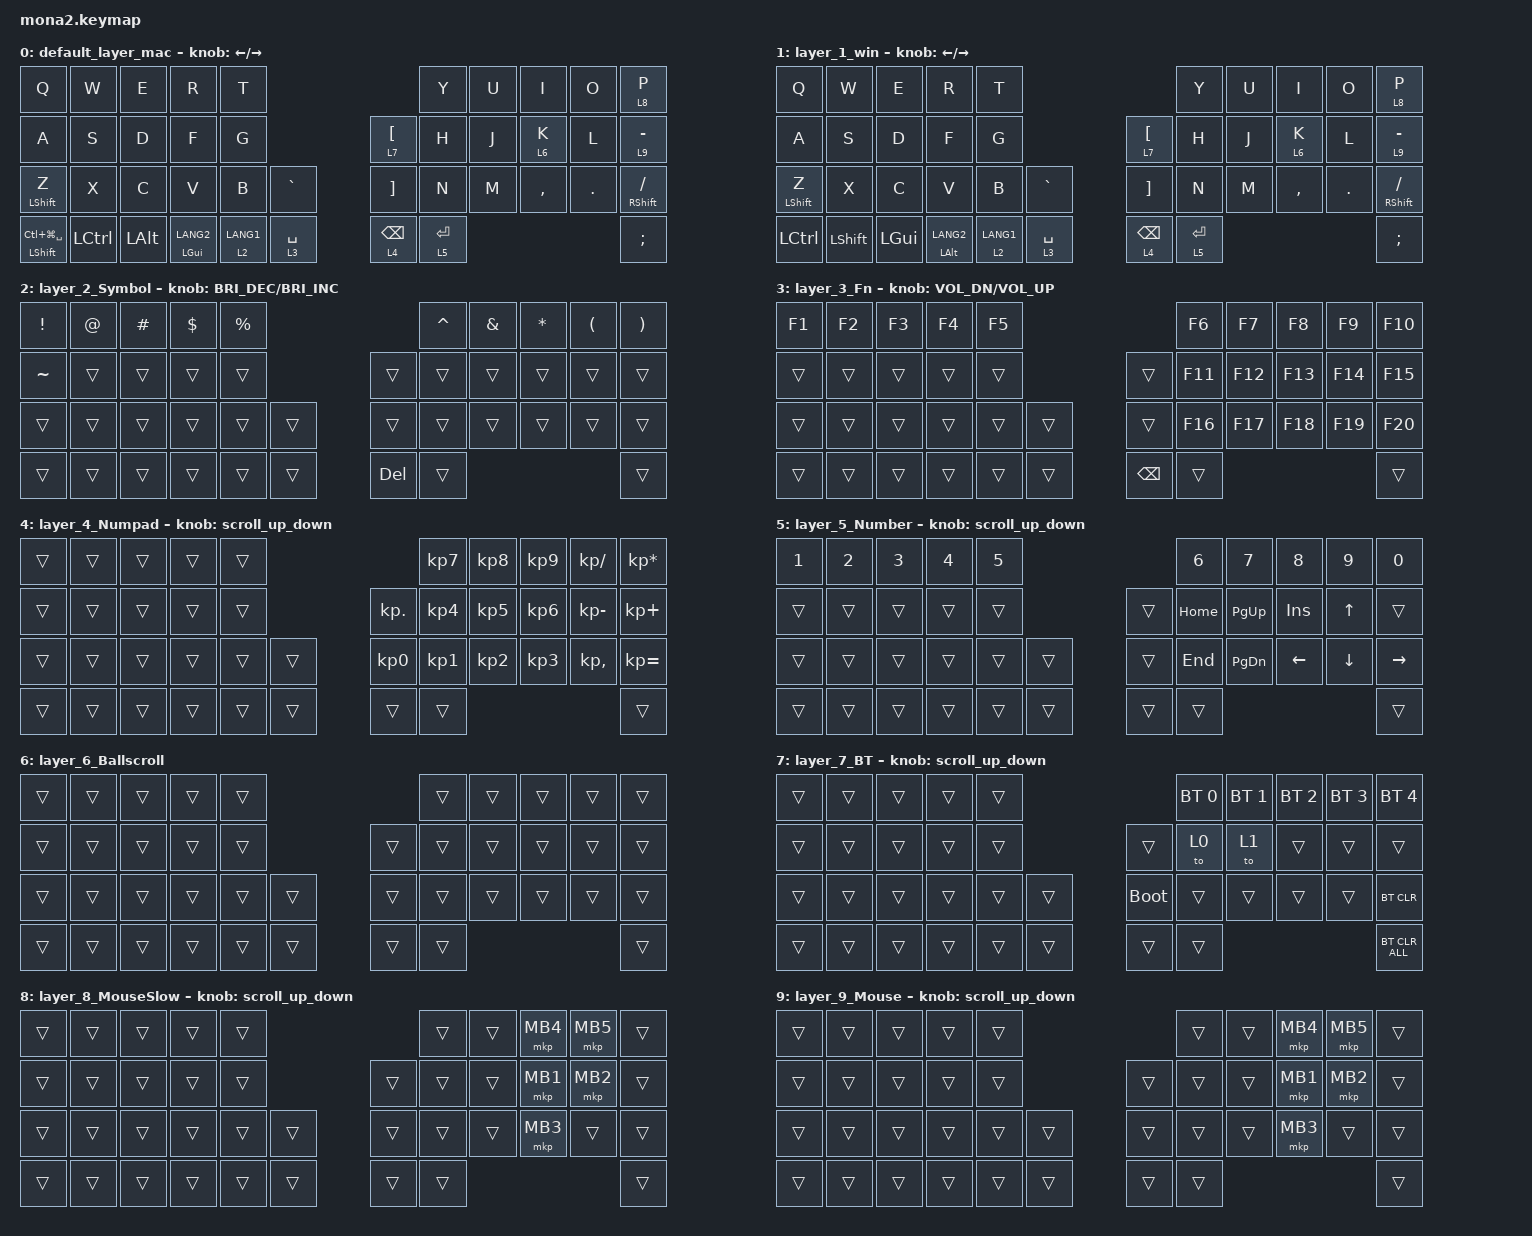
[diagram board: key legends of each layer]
#include <behaviors.dtsi>
#include <dt-bindings/zmk/bt.h>
#include <dt-bindings/zmk/keys.h>
#include <dt-bindings/zmk/pointing.h>

/* スクロール量の調整 */

#undef ZMK_POINTING_DEFAULT_SCRL_VAL

#define ZMK_POINTING_DEFAULT_SCRL_VAL 100

&mt {
    flavor = "balanced";
    quick-tap-ms = <0>;
    tapping-term-ms = <250>;
};

&lt { tapping-term-ms = <150>; };

/ {
    combos {
        compatible = "zmk,combos";

        Tab {
            bindings = <&kp TAB>;
            key-positions = <10 11>;
        };

        Escape {
            bindings = <&kp ESCAPE>;
            key-positions = <0 1>;
        };

        Caps {
            bindings = <&kp CAPSLOCK>;
            key-positions = <21 22>;
        };

        Pype {
            bindings = <&kp PIPE>;
            key-positions = <15 27>;
        };

        Sqt {
            bindings = <&kp SQT>;
            key-positions = <20 19>;
        };
    };

    macros {
        to_layer_0: to_layer_0 {
            compatible = "zmk,behavior-macro-one-param";
            #binding-cells = <1>;
            bindings = <&to 0 &macro_param_1to1 &kp MACRO_PLACEHOLDER>;
            label = "TO_LAYER_0";
        };
    };

    behaviors {
        lt_to_layer_0: lt_to_layer_0 {
            compatible = "zmk,behavior-hold-tap";
            label = "LAYER_TAP_TO_0";
            bindings = <&mo>, <&to_layer_0>;

            #binding-cells = <2>;
            tapping-term-ms = <200>;
        };

        scroll_up_down: behavior_sensor_rotate_mouse_wheel_up_down {
            compatible = "zmk,behavior-sensor-rotate";
            #sensor-binding-cells = <0>;
            bindings = <&msc SCRL_UP>, <&msc SCRL_DOWN>;

            tap-ms = <20>;
        };

        mt_z: mod_tap_z {
            compatible = "zmk,behavior-hold-tap";
            label = "MOD_TAP_Z";
            #binding-cells = <2>;
            flavor = "balanced";
            tapping-term-ms = <250>;
            quick-tap-ms = <0>;
            bindings = <&kp>, <&kp>;
            hold-trigger-key-positions = <5 6 7 8 9 15 16 17 18 19 20 27 28 29 30 31 32 39 40 41>;
        };

        lt_k: layer_tap_k {
            compatible = "zmk,behavior-hold-tap";
            label = "LAYER_TAP_K";
            #binding-cells = <2>;
            flavor = "tap-preferred";
            tapping-term-ms = <190>;
            bindings = <&mo>, <&kp>;
        };
    };

    keymap {
        compatible = "zmk,keymap";

        default_layer_mac {
            bindings = <
&kp Q                         &kp W             &kp E         &kp R               &kp T                                           &kp Y        &kp U  &kp I      &kp O    &lt 8 P
&kp A                         &kp S             &kp D         &kp F               &kp G                       &lt 7 LEFT_BRACKET  &kp H        &kp J  &lt_k 6 K    &kp L    &lt 9 MINUS
&mt_z LEFT_SHIFT Z              &kp X             &kp C         &kp V               &kp B        &kp GRAVE      &kp RIGHT_BRACKET   &kp N        &kp M  &kp COMMA  &kp DOT  &mt RIGHT_SHIFT SLASH
&mt LEFT_SHIFT LC(LG(SPACE))  &kp LEFT_CONTROL  &kp LEFT_ALT  &mt LEFT_GUI LANG2  &lt 2 LANG1  &lt 3 SPACE    &lt 4 BACKSPACE     &lt 5 ENTER                             &kp SEMICOLON
            >;

            sensor-bindings = <&inc_dec_kp LEFT RIGHT>;
        };

        layer_1_win {
            bindings = <
&kp Q             &kp W           &kp E         &kp R               &kp T                                           &kp Y        &kp U  &kp I      &kp O    &lt 8 P
&kp A             &kp S           &kp D         &kp F               &kp G                       &lt 7 LEFT_BRACKET  &kp H        &kp J  &lt_k 6 K    &kp L    &lt 9 MINUS
&mt_z LEFT_SHIFT Z  &kp X           &kp C         &kp V               &kp B        &kp GRAVE      &kp RIGHT_BRACKET   &kp N        &kp M  &kp COMMA  &kp DOT  &mt RIGHT_SHIFT SLASH
&kp LEFT_CONTROL  &kp LEFT_SHIFT  &kp LEFT_GUI  &mt LEFT_ALT LANG2  &lt 2 LANG1  &lt 3 SPACE    &lt 4 BACKSPACE     &lt 5 ENTER                             &kp SEMICOLON
            >;

            sensor-bindings = <&inc_dec_kp LEFT RIGHT>;
        };

        layer_2_Symbol {
            bindings = <
&kp EXCLAMATION  &kp AT_SIGN  &kp HASH  &kp DOLLAR  &kp PERCENT                     &kp CARET  &kp AMPERSAND  &kp ASTERISK  &kp LEFT_PARENTHESIS  &kp RIGHT_PARENTHESIS
&kp TILDE        &trans       &trans    &trans      &trans                 &trans   &trans     &trans         &trans        &trans                &trans
&trans           &trans       &trans    &trans      &trans       &trans    &trans   &trans     &trans         &trans        &trans                &trans
&trans           &trans       &trans    &trans      &trans       &trans    &kp DEL  &trans                                                        &trans
            >;

            sensor-bindings = <&inc_dec_kp C_BRIGHTNESS_DEC C_BRIGHTNESS_INC>;
        };

        layer_3_Fn {
            bindings = <
&kp F1  &kp F2  &kp F3  &kp F4  &kp F5                           &kp F6   &kp F7   &kp F8   &kp F9   &kp F10
&trans  &trans  &trans  &trans  &trans            &trans         &kp F11  &kp F12  &kp F13  &kp F14  &kp F15
&trans  &trans  &trans  &trans  &trans  &trans    &trans         &kp F16  &kp F17  &kp F18  &kp F19  &kp F20
&trans  &trans  &trans  &trans  &trans  &trans    &kp BACKSPACE  &trans                              &trans
            >;

            sensor-bindings = <&inc_dec_kp C_VOL_DN C_VOL_UP>;
        };

        layer_4_Numpad {
            bindings = <
&trans  &trans  &trans  &trans  &trans                             &kp KP_NUMBER_7  &kp KP_NUMBER_8  &kp KP_NUMBER_9  &kp KP_DIVIDE  &kp KP_ASTERISK
&trans  &trans  &trans  &trans  &trans            &kp KP_DOT       &kp KP_NUMBER_4  &kp KP_NUMBER_5  &kp KP_NUMBER_6  &kp KP_MINUS   &kp KP_PLUS
&trans  &trans  &trans  &trans  &trans  &trans    &kp KP_NUMBER_0  &kp KP_NUMBER_1  &kp KP_NUMBER_2  &kp KP_NUMBER_3  &kp KP_COMMA   &kp KP_EQUAL
&trans  &trans  &trans  &trans  &trans  &trans    &trans           &trans                                                            &trans
            >;

            sensor-bindings = <&scroll_up_down>;
        };

        layer_5_Number {
            bindings = <
&kp N1  &kp N2  &kp N3  &kp N4  &kp N5                    &kp N6    &kp N7     &kp N8    &kp N9    &kp N0
&trans  &trans  &trans  &trans  &trans            &trans  &kp HOME  &kp PG_UP  &kp INS   &kp UP    &trans
&trans  &trans  &trans  &trans  &trans  &trans    &trans  &kp END   &kp PG_DN  &kp LEFT  &kp DOWN  &kp RIGHT
&trans  &trans  &trans  &trans  &trans  &trans    &trans  &trans                                   &trans
            >;

            sensor-bindings = <&scroll_up_down>;
        };

        layer_6_Ballscroll {
            bindings = <
&trans  &trans  &trans  &trans  &trans                    &trans  &trans  &trans  &trans  &trans
&trans  &trans  &trans  &trans  &trans            &trans  &trans  &trans  &trans  &trans  &trans
&trans  &trans  &trans  &trans  &trans  &trans    &trans  &trans  &trans  &trans  &trans  &trans
&trans  &trans  &trans  &trans  &trans  &trans    &trans  &trans                          &trans
            >;
        };

        layer_7_BT {
            bindings = <
&trans  &trans  &trans  &trans  &trans                         &bt BT_SEL 0  &bt BT_SEL 1  &bt BT_SEL 2  &bt BT_SEL 3  &bt BT_SEL 4
&trans  &trans  &trans  &trans  &trans            &trans       &to 0         &to 1         &trans        &trans        &trans
&trans  &trans  &trans  &trans  &trans  &trans    &bootloader  &trans        &trans        &trans        &trans        &bt BT_CLR
&trans  &trans  &trans  &trans  &trans  &trans    &trans       &trans                                                  &bt BT_CLR_ALL
            >;

            sensor-bindings = <&scroll_up_down>;
        };

        layer_8_MouseSlow {
            bindings = <
&trans  &trans  &trans  &trans  &trans                    &trans  &trans  &mkp MB4  &mkp MB5  &trans
&trans  &trans  &trans  &trans  &trans            &trans  &trans  &trans  &mkp MB1  &mkp MB2  &trans
&trans  &trans  &trans  &trans  &trans  &trans    &trans  &trans  &trans  &mkp MB3  &trans    &trans
&trans  &trans  &trans  &trans  &trans  &trans    &trans  &trans                              &trans
            >;

            sensor-bindings = <&scroll_up_down>;
        };

        layer_9_Mouse {
            bindings = <
&trans  &trans  &trans  &trans  &trans                    &trans  &trans  &mkp MB4  &mkp MB5  &trans
&trans  &trans  &trans  &trans  &trans            &trans  &trans  &trans  &mkp MB1  &mkp MB2  &trans
&trans  &trans  &trans  &trans  &trans  &trans    &trans  &trans  &trans  &mkp MB3  &trans    &trans
&trans  &trans  &trans  &trans  &trans  &trans    &trans  &trans                              &trans
            >;

            sensor-bindings = <&scroll_up_down>;
        };
    };
};
